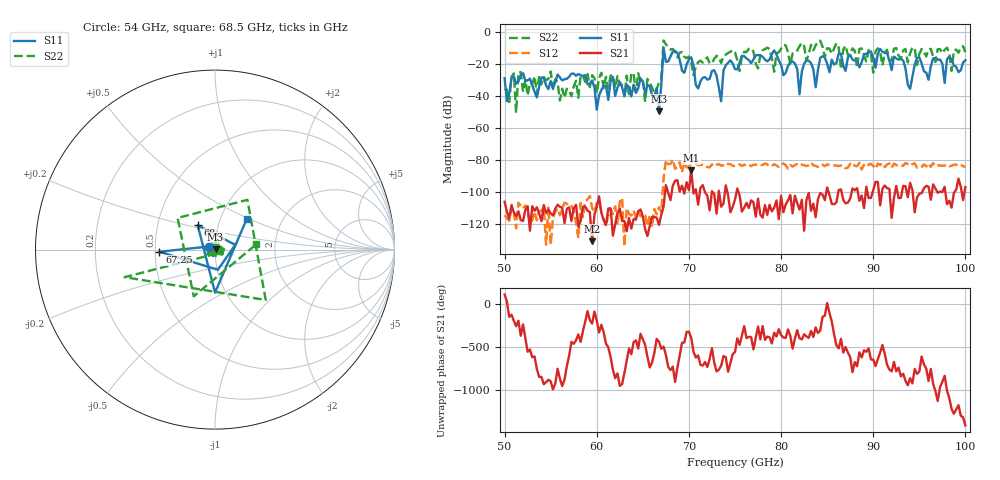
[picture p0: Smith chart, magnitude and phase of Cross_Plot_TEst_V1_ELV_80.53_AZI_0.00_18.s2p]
! 11/25/2026 1:24:37 PM
! C:\ANRITSUVNA\TEMP\TEMP.S2P
! CHANNEL.1
! TR.MEASUREMENT
! RAW.DATA
# HZ S RI R 50.0
! FREQ.HZ  S11RE  S11IM  S21RE  S21IM  S12RE  S12IM  S22RE  S22IM
!; PortSelection: Port_12
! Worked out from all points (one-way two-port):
!   201 points, 50 GHz to 100 GHz, reference 50 ohm
!   highest |S21| = -86.74 dB at 70.25 GHz (marker M1); lowest = -131.0 dB at 59.5 GHz (marker M2)
!   lowest |S11| = -49.7 dB at 66.75 GHz (marker M3), VSWR 1.01, Z = 50.3 + j0.072 ohm
!   |S11| at or under -10 dB: start of sweep to end of sweep
!   |S22| runs from -50.7 to -5.6 dB; largest |S21 - S12| = 0.0001
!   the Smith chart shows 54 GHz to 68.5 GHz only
!   S11 on the Smith chart (normalised r, x): 54 GHz: 0.93, +0.03; 67.25 GHz: 0.53, -0.01; 68 GHz: 0.80, +0.22; 68.5 GHz: 1.33, +0.49
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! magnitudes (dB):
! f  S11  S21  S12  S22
! 50 GHz  -29.1  -106.2  -114.7  -35.8
! 51 GHz  -27.9  -112.9  -112.3  -26.1
! 51.25 GHz  -32.6  -115.2  -122.8  -50.7
! 51.5 GHz  -31.2  -112.2  -106.8  -25.7
! 54 GHz  -28.7  -118.4  -111.6  -32.9
! 58.5 GHz  -27.7  -109.4  -115.8  -27.7
! 59.5 GHz  -30.5  -131.0  -110.3  -27.2
! 60 GHz  -48.8  -109.5  -107.2  -38.6
! 61.75 GHz  -28.4  -127.4  -113.9  -27.7
! 66.75 GHz  -49.7  -120.7  -109.8  -31.9
! 67.25 GHz  -10.2  -109.2  -91.9  -5.6
! 68 GHz  -15.5  -105.2  -82.7  -11.3
! 68.5 GHz  -12.1  -93.2  -85.6  -12.6
! 70.25 GHz  -16.1  -86.7  -83.1  -19.1
! 73.5 GHz  -43.6  -109.4  -83.7  -19.7
! 73.75 GHz  -24.4  -107.4  -83.4  -15.4
! 75 GHz  -23.5  -104.9  -84.0  -13.0
! 83.5 GHz  -23.5  -107.4  -83.5  -11.7
! 91.75 GHz  -18.1  -98.1  -82.3  -17.6
! 94 GHz  -35.7  -94.5  -83.8  -13.7
! 94.75 GHz  -16.5  -103.6  -85.0  -20.9
! 100 GHz  -17.9  -97.2  -84.6  -12.8
